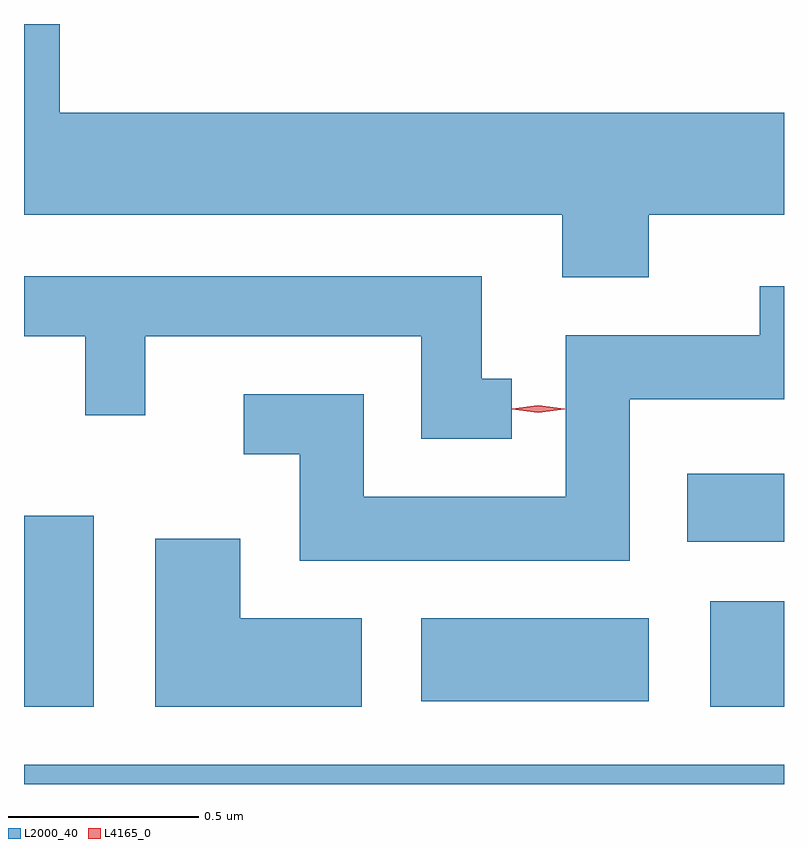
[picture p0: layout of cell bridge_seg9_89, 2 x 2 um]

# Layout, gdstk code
import gdstk
lib = gdstk.Library(unit=1e-6, precision=1e-09)
def R(c, l, rs):  # rectangles x0, y0, x1, y1
    for r in rs: c.add(gdstk.rectangle(r[:2], r[2:], *l))
def P(c, l, *ps):  # polygons
    for p in ps: c.add(gdstk.Polygon(p, *l))
L2000_40 = (2000, 40)
L4165_0 = (4165, 0)

bridge_seg9_89 = lib.new_cell('bridge_seg9_89')
R(bridge_seg9_89, L2000_40, [(1720.165,1979.218,1722.165,1979.269), (1720.165,1979.421,1720.349,1979.924), (1721.971,1979.421,1722.165,1979.699), (1721.211,1979.436,1721.809,1979.654), (1721.911,1979.856,1722.165,1980.034)])
P(bridge_seg9_89, L2000_40, [(1721.809,1980.716),(1722.165,1980.716),(1722.165,1980.984),(1720.259,1980.984),(1720.259,1981.218),(1720.165,1981.218),(1720.165,1980.716),(1721.581,1980.716),(1721.581,1980.551),(1721.809,1980.551)],
  [(1721.448,1980.284),(1721.369,1980.284),(1721.369,1980.554),(1720.165,1980.554),(1720.165,1980.396),(1720.326,1980.396),(1720.326,1980.188),(1720.484,1980.188),(1720.484,1980.396),(1721.211,1980.396),(1721.211,1980.126),(1721.448,1980.126)],
  [(1721.759,1980.231),(1722.165,1980.231),(1722.165,1980.528),(1722.101,1980.528),(1722.101,1980.399),(1721.591,1980.399),(1721.591,1979.974),(1721.059,1979.974),(1721.059,1980.244),(1720.743,1980.244),(1720.743,1980.086),(1720.891,1980.086),(1720.891,1979.806),(1721.759,1979.806)],
  [(1721.054,1979.654),(1720.734,1979.654),(1720.734,1979.864),(1720.511,1979.864),(1720.511,1979.421),(1721.054,1979.421)])
P(bridge_seg9_89, L4165_0, [(1721.518,1980.195),(1721.449,1980.204),(1721.449,1980.205),(1721.449,1980.205),(1721.518,1980.215),(1721.588,1980.205),(1721.588,1980.204),(1721.588,1980.204)])

lib.write_gds('bridge_seg9_89.gds')
